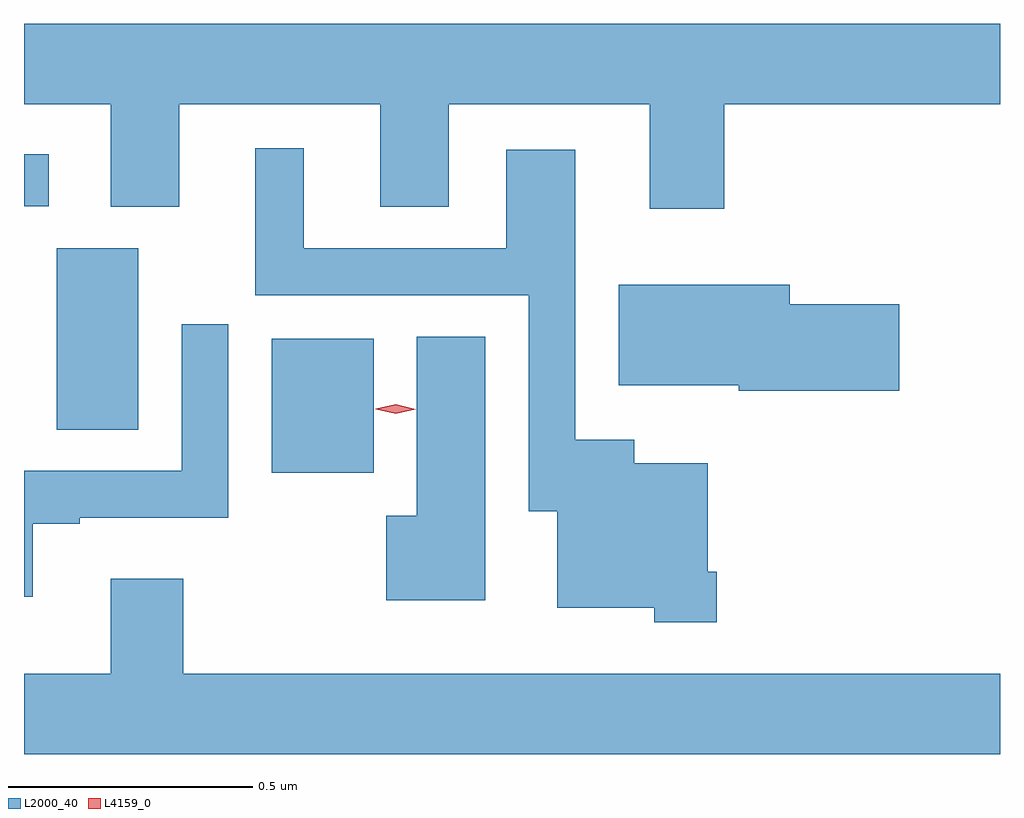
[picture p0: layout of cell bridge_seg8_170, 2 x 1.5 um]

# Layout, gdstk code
import gdstk
lib = gdstk.Library(unit=1e-6, precision=1e-09)
def R(c, l, rs):  # rectangles x0, y0, x1, y1
    for r in rs: c.add(gdstk.rectangle(r[:2], r[2:], *l))
def P(c, l, *ps):  # polygons
    for p in ps: c.add(gdstk.Polygon(p, *l))
L2000_40 = (2000, 40)
L4159_0 = (4159, 0)

bridge_seg8_170 = lib.new_cell('bridge_seg8_170')
R(bridge_seg8_170, L2000_40, [(614.867,1101.092,615.076,1101.367), (614.426,1101.181,614.593,1101.552), (614.359,1101.639,614.41,1101.745)])
P(bridge_seg8_170, L2000_40, [(614.359,1101.848),(614.537,1101.848),(614.537,1101.637),(614.677,1101.637),(614.677,1101.848),(615.089,1101.848),(615.089,1101.637),(615.229,1101.637),(615.229,1101.848),(615.641,1101.848),(615.641,1101.633),(615.794,1101.633),(615.794,1101.848),(616.359,1101.848),(616.359,1102.012),(614.359,1102.012)],
  [(615.779,1100.89),(615.76,1100.89),(615.76,1101.112),(615.61,1101.112),(615.61,1101.16),(615.489,1101.16),(615.489,1101.754),(615.347,1101.754),(615.347,1101.552),(614.932,1101.552),(614.932,1101.757),(614.833,1101.757),(614.833,1101.456),(615.393,1101.456),(615.393,1101.014),(615.452,1101.014),(615.452,1100.816),(615.651,1100.816),(615.651,1100.786),(615.779,1100.786)],
  [(616.153,1101.438),(615.928,1101.438),(615.928,1101.478),(615.578,1101.478),(615.578,1101.272),(615.824,1101.272),(615.824,1101.26),(616.153,1101.26)],
  [(614.377,1100.988),(614.473,1100.988),(614.473,1101),(614.778,1101),(614.778,1101.397),(614.682,1101.397),(614.682,1101.096),(614.359,1101.096),(614.359,1100.838),(614.377,1100.838)],
  [(615.304,1101.371),(615.164,1101.371),(615.164,1101.004),(615.101,1101.004),(615.101,1100.831),(615.304,1100.831)],
  [(616.359,1100.68),(614.685,1100.68),(614.685,1100.875),(614.537,1100.875),(614.537,1100.68),(614.359,1100.68),(614.359,1100.516),(616.359,1100.516)])
P(bridge_seg8_170, L4159_0, [(615.121,1101.213),(615.08,1101.223),(615.08,1101.223),(615.08,1101.224),(615.121,1101.233),(615.162,1101.223),(615.162,1101.222),(615.162,1101.222)])

lib.write_gds('bridge_seg8_170.gds')
